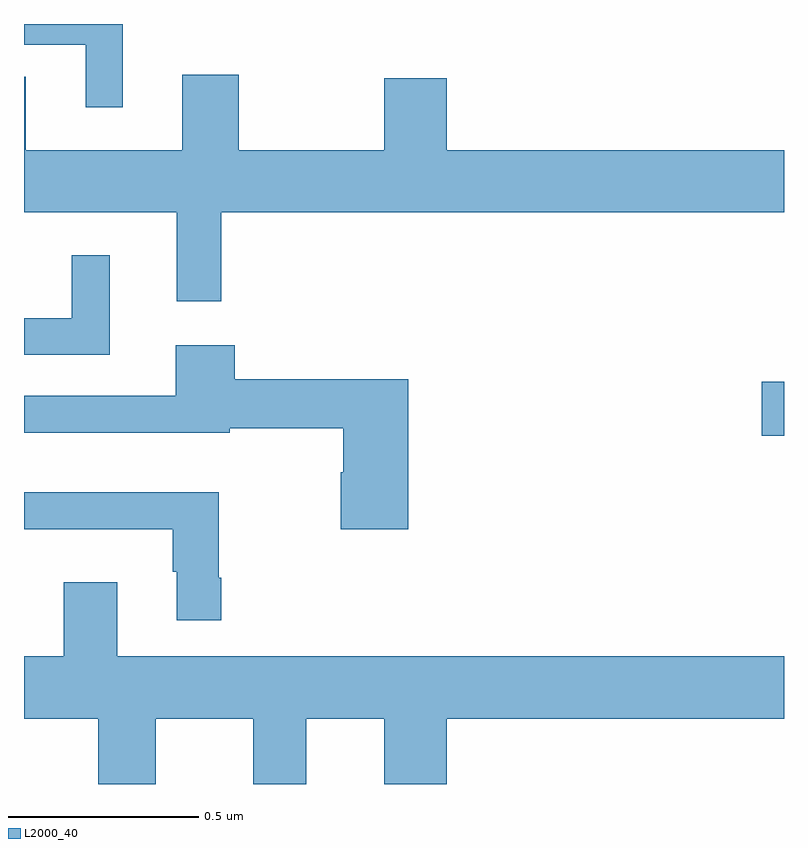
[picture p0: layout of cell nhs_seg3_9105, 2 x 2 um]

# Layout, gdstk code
import gdstk
lib = gdstk.Library(unit=1e-6, precision=1e-09)
def R(c, l, rs):  # rectangles x0, y0, x1, y1
    for r in rs: c.add(gdstk.rectangle(r[:2], r[2:], *l))
def P(c, l, *ps):  # polygons
    for p in ps: c.add(gdstk.Polygon(p, *l))
L2000_40 = (2000, 40)

nhs_seg3_9105 = lib.new_cell('nhs_seg3_9105')
R(nhs_seg3_9105, L2000_40, [(225.942,712.316,226,712.458)])
P(nhs_seg3_9105, L2000_40, [(224.26,713.4),(224,713.4),(224,713.346),(224.162,713.346),(224.162,713.181),(224.26,713.181)],
  [(224.519,712.904),(226,712.904),(226,713.068),(225.112,713.068),(225.112,713.257),(224.948,713.257),(224.948,713.068),(224.565,713.068),(224.565,713.266),(224.417,713.266),(224.417,713.068),(224.005,713.068),(224.005,713.261),(224,713.261),(224,712.904),(224.402,712.904),(224.402,712.671),(224.519,712.671)],
  [(224.225,712.792),(224.126,712.792),(224.126,712.626),(224,712.626),(224,712.53),(224.225,712.53)],
  [(225.011,712.465),(224.555,712.465),(224.555,712.555),(224.399,712.555),(224.399,712.422),(224,712.422),(224,712.325),(224.542,712.325),(224.542,712.336),(224.84,712.336),(224.84,712.221),(224.833,712.221),(224.833,712.071),(225.011,712.071)],
  [(224.519,711.943),(224.512,711.943),(224.512,712.168),(224,712.168),(224,712.07),(224.391,712.07),(224.391,711.959),(224.402,711.959),(224.402,711.831),(224.519,711.831)],
  [(224.347,711.572),(224.603,711.572),(224.603,711.4),(224.743,711.4),(224.743,711.572),(224.948,711.572),(224.948,711.4),(225.112,711.4),(225.112,711.572),(226,711.572),(226,711.736),(224.245,711.736),(224.245,711.931),(224.105,711.931),(224.105,711.736),(224,711.736),(224,711.572),(224.195,711.572),(224.195,711.4),(224.347,711.4)])

lib.write_gds('nhs_seg3_9105.gds')
